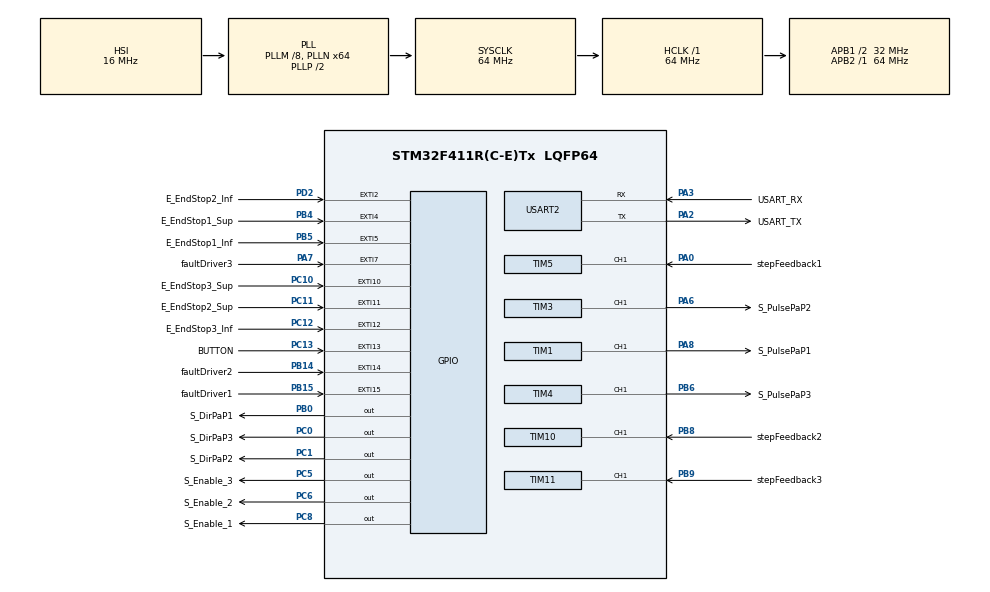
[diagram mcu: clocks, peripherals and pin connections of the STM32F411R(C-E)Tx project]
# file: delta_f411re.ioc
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Mcu.Family=STM32F4
Mcu.Name=STM32F411R(C-E)Tx
Mcu.Package=LQFP64
NVIC.EXTI15_10_IRQn=true\:1\:0\:true\:false\:true\:true\:true\:true
NVIC.EXTI2_IRQn=true\:1\:0\:true\:false\:true\:true\:true\:true
NVIC.EXTI4_IRQn=true\:1\:0\:true\:false\:true\:true\:true\:true
NVIC.EXTI9_5_IRQn=true\:1\:0\:true\:false\:true\:true\:true\:true
NVIC.PVD_IRQn=true\:0\:0\:false\:false\:true\:true\:true\:true
NVIC.PriorityGroup=NVIC_PRIORITYGROUP_2
NVIC.TIM1_BRK_TIM9_IRQn=true\:0\:0\:false\:false\:true\:true\:true\:true
NVIC.TIM1_TRG_COM_TIM11_IRQn=true\:2\:0\:true\:false\:true\:true\:true\:true
NVIC.TIM1_UP_TIM10_IRQn=true\:2\:0\:true\:false\:true\:true\:true\:true
NVIC.TIM5_IRQn=true\:2\:0\:true\:false\:true\:true\:true\:true
NVIC.USART2_IRQn=true\:1\:0\:true\:false\:true\:true\:true\:true
PA0-WKUP.GPIO_Label=stepFeedback1
PA0-WKUP.Signal=S_TIM5_CH1
PA13.GPIO_Label=TMS
PA13.Mode=Serial_Wire
PA13.Signal=SYS_JTMS-SWDIO
PA14.GPIO_Label=TCK
PA14.Mode=Serial_Wire
PA14.Signal=SYS_JTCK-SWCLK
PA2.GPIO_Label=USART_TX
PA2.Mode=Asynchronous
PA2.Signal=USART2_TX
PA3.GPIO_Label=USART_RX
PA3.Mode=Asynchronous
PA3.Signal=USART2_RX
PA6.GPIO_Label=S_PulsePaP2
PA6.Signal=S_TIM3_CH1
PA7.GPIO_Label=faultDriver3
PA7.GPIO_ModeDefaultEXTI=GPIO_MODE_IT_FALLING
PA7.GPIO_PuPd=GPIO_NOPULL
PA7.Signal=GPXTI7
PA8.GPIO_Label=S_PulsePaP1
PA8.Signal=S_TIM1_CH1
PB0.GPIO_Label=S_DirPaP1
PB0.Signal=GPIO_Output
PB14.GPIO_Label=faultDriver2
PB14.GPIO_ModeDefaultEXTI=GPIO_MODE_IT_FALLING
PB14.GPIO_PuPd=GPIO_NOPULL
PB14.Signal=GPXTI14
PB15.GPIO_Label=faultDriver1
PB15.GPIO_ModeDefaultEXTI=GPIO_MODE_IT_FALLING
PB15.GPIO_PuPd=GPIO_NOPULL
PB15.Signal=GPXTI15
PB3.GPIO_Label=SWO
PB3.Signal=SYS_JTDO-SWO
PB4.GPIO_Label=E_EndStop1_Sup
PB4.GPIO_ModeDefaultEXTI=GPIO_MODE_IT_FALLING
PB4.GPIO_PuPd=GPIO_NOPULL
PB4.Signal=GPXTI4
PB5.GPIO_Label=E_EndStop1_Inf
PB5.GPIO_ModeDefaultEXTI=GPIO_MODE_IT_FALLING
PB5.GPIO_PuPd=GPIO_NOPULL
PB5.Signal=GPXTI5
PB6.GPIO_Label=S_PulsePaP3
PB6.Signal=S_TIM4_CH1
PB8.GPIO_Label=stepFeedback2
PB8.Signal=S_TIM10_CH1
PB9.GPIO_Label=stepFeedback3
PB9.Signal=S_TIM11_CH1
PC0.GPIO_Label=S_DirPaP3
PC0.Signal=GPIO_Output
PC1.GPIO_Label=S_DirPaP2
PC1.Signal=GPIO_Output
PC10.GPIO_Label=E_EndStop3_Sup
PC10.GPIO_ModeDefaultEXTI=GPIO_MODE_IT_FALLING
PC10.GPIO_PuPd=GPIO_NOPULL
PC10.Signal=GPXTI10
PC11.GPIO_Label=E_EndStop2_Sup
PC11.GPIO_ModeDefaultEXTI=GPIO_MODE_IT_FALLING
PC11.GPIO_PuPd=GPIO_NOPULL
PC11.Signal=GPXTI11
PC12.GPIO_Label=E_EndStop3_Inf
PC12.GPIO_ModeDefaultEXTI=GPIO_MODE_IT_FALLING
PC12.GPIO_PuPd=GPIO_NOPULL
PC12.Signal=GPXTI12
PC13-ANTI_TAMP.GPIO_Label=BUTTON
PC13-ANTI_TAMP.GPIO_PuPd=GPIO_PULLDOWN
PC13-ANTI_TAMP.Signal=GPXTI13
PC14-OSC32_IN.Mode=LSE-External-Oscillator
PC14-OSC32_IN.Signal=RCC_OSC32_IN
PC15-OSC32_OUT.Mode=LSE-External-Oscillator
PC15-OSC32_OUT.Signal=RCC_OSC32_OUT
PC5.GPIO_Label=S_Enable_3
PC5.Signal=GPIO_Output
PC6.GPIO_Label=S_Enable_2
PC6.Signal=GPIO_Output
PC8.GPIO_Label=S_Enable_1
PC8.Signal=GPIO_Output
PD2.GPIO_Label=E_EndStop2_Inf
PD2.GPIO_ModeDefaultEXTI=GPIO_MODE_IT_FALLING
PD2.GPIO_PuPd=GPIO_NOPULL
PD2.Signal=GPXTI2
PH0\ -\ OSC_IN.Mode=HSE-External-Clock-Source
PH0\ -\ OSC_IN.Signal=RCC_OSC_IN
PH1\ -\ OSC_OUT.Mode=HSE-External-Clock-Source
PH1\ -\ OSC_OUT.Signal=RCC_OSC_OUT
ProjectManager.HeapSize=0x200
ProjectManager.StackSize=0x400
ProjectManager.TargetToolchain=STM32CubeIDE
RCC.48MHZClocksFreq_Value=32000000
RCC.AHBFreq_Value=64000000
RCC.APB1CLKDivider=RCC_HCLK_DIV2
RCC.APB1Freq_Value=32000000
RCC.APB1TimFreq_Value=64000000
RCC.APB2Freq_Value=64000000
RCC.APB2TimFreq_Value=64000000
RCC.CortexFreq_Value=64000000
RCC.FLatency-AdvancedSettings=FLASH_LATENCY_2
RCC.HCLKFreq_Value=64000000
RCC.HSE_VALUE=8000000
RCC.HSI_VALUE=16000000
RCC.PLLM=8
RCC.PLLN=64
RCC.RCC_RTC_Clock_Source=RCC_RTCCLKSOURCE_LSI
RCC.RCC_RTC_Clock_SourceVirtual=RCC_RTCCLKSOURCE_LSI
RCC.SYSCLKFreq_VALUE=64000000
RCC.SYSCLKSource=RCC_SYSCLKSOURCE_PLLCLK
RCC.VCOOutputFreq_Value=128000000
SH.S_TIM10_CH1.0=TIM10_CH1,Input_Capture1_from_TI1
SH.S_TIM11_CH1.0=TIM11_CH1,Input_Capture1_from_TI1
SH.S_TIM1_CH1.0=TIM1_CH1,PWM Generation1 CH1
SH.S_TIM3_CH1.0=TIM3_CH1,PWM Generation1 CH1
SH.S_TIM4_CH1.0=TIM4_CH1,PWM Generation1 CH1
SH.S_TIM5_CH1.0=TIM5_CH1,Input_Capture1_from_TI1
TIM1.Channel-PWM\ Generation1\ CH1=TIM_CHANNEL_1
TIM1.Period=0
TIM1.Prescaler=64-1
TIM10.Channel=TIM_CHANNEL_1
TIM10.ICPolarity_CH1=TIM_INPUTCHANNELPOLARITY_RISING
TIM11.Channel=TIM_CHANNEL_1
TIM11.ICPolarity_CH1=TIM_INPUTCHANNELPOLARITY_RISING
TIM2.Period=4294967295
TIM2.Prescaler=0
TIM3.Channel-PWM\ Generation1\ CH1=TIM_CHANNEL_1
TIM3.Period=0
TIM3.Prescaler=64-1
TIM4.Channel-PWM\ Generation1\ CH1=TIM_CHANNEL_1
TIM4.Period=64000
TIM4.Prescaler=64-1
TIM5.Channel-Input_Capture1_from_TI1=TIM_CHANNEL_1
TIM5.ICPolarity_CH1=TIM_INPUTCHANNELPOLARITY_RISING
TIM5.Period=65535
TIM9.Period=64000
USART2.VirtualMode=VM_ASYNC
VP_TIM10_VS_ClockSourceINT.Mode=Enable_Timer
VP_TIM11_VS_ClockSourceINT.Mode=Enable_Timer
VP_TIM1_VS_ClockSourceINT.Mode=Internal
VP_TIM2_VS_ClockSourceINT.Mode=Internal
VP_TIM3_VS_ClockSourceINT.Mode=Internal
VP_TIM4_VS_ClockSourceINT.Mode=Internal
VP_TIM5_VS_ClockSourceINT.Mode=Internal
VP_TIM9_VS_ClockSourceINT.Mode=Internal
board=NUCLEO-F411RE

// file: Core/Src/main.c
/* USER CODE BEGIN Header */
/**
  ******************************************************************************
  * @file           : main.c
  * @brief          : Main program body
  ******************************************************************************
  * @attention
  *
  * Copyright (c) 2023 STMicroelectronics.
  * All rights reserved.
  *
  * This software is licensed under terms that can be found in the LICENSE file
  * in the root directory of this software component.
  * If no LICENSE file comes with this software, it is provided AS-IS.
  *
  ******************************************************************************
  */
/* USER CODE END Header */
#include "main.h"

/* USER CODE BEGIN Includes */
#include <string.h>
#include "stdio.h"
#include "stdlib.h"
#include "math.h"
#include "motor.h"
#include "homing.h"
#include "interpretaComando.h"
#include "statesMachine.h"
#include "trajectory.h"

/* USER CODE END Includes */

 TIM_HandleTypeDef htim1;
TIM_HandleTypeDef htim2;
TIM_HandleTypeDef htim3;
TIM_HandleTypeDef htim4;
TIM_HandleTypeDef htim5;
TIM_HandleTypeDef htim9;
TIM_HandleTypeDef htim10;
TIM_HandleTypeDef htim11;

UART_HandleTypeDef huart2;

/* USER CODE BEGIN PV */
Motor motor1, motor2,motor3;

double time;
uint8_t cm0;				//Flag start transmit

/* USER CODE END PV */

void SystemClock_Config(void);
static void MX_GPIO_Init(void);
static void MX_USART2_UART_Init(void);
static void MX_TIM1_Init(void);
static void MX_TIM2_Init(void);
static void MX_TIM3_Init(void);
static void MX_TIM5_Init(void);
static void MX_TIM9_Init(void);
static void MX_TIM10_Init(void);
static void MX_TIM11_Init(void);
static void MX_TIM4_Init(void);

int main(void)
{

  /* MCU Configuration--------------------------------------------------------*/

  /* Reset of all peripherals, Initializes the Flash interface and the Systick. */
  HAL_Init();

  /* Configure the system clock */
  SystemClock_Config();

  /* Initialize all configured peripherals */
  MX_GPIO_Init();
  MX_USART2_UART_Init();
  MX_TIM1_Init();
  MX_TIM2_Init();
  MX_TIM3_Init();
  MX_TIM5_Init();
  MX_TIM9_Init();
  MX_TIM10_Init();
  MX_TIM11_Init();
  MX_TIM4_Init();

  /* Infinite loop */
  while (1)
  {

    /* USER CODE BEGIN 3 */
	  statesMachineLoop();
  }
  /* USER CODE END 3 */
}

void SystemClock_Config(void)
{
  RCC_OscInitTypeDef RCC_OscInitStruct = {0};
  RCC_ClkInitTypeDef RCC_ClkInitStruct = {0};

  /** Configure the main internal regulator output voltage
  */
  __HAL_RCC_PWR_CLK_ENABLE();
  __HAL_PWR_VOLTAGESCALING_CONFIG(PWR_REGULATOR_VOLTAGE_SCALE1);

  /** Initializes the RCC Oscillators according to the specified parameters
  * in the RCC_OscInitTypeDef structure.
  */
  RCC_OscInitStruct.OscillatorType = RCC_OSCILLATORTYPE_HSI|RCC_OSCILLATORTYPE_HSE;
  RCC_OscInitStruct.HSEState = RCC_HSE_BYPASS;
  RCC_OscInitStruct.HSIState = RCC_HSI_ON;
  RCC_OscInitStruct.HSICalibrationValue = RCC_HSICALIBRATION_DEFAULT;
  RCC_OscInitStruct.PLL.PLLState = RCC_PLL_ON;
  RCC_OscInitStruct.PLL.PLLSource = RCC_PLLSOURCE_HSI;
  RCC_OscInitStruct.PLL.PLLM = 8;
  RCC_OscInitStruct.PLL.PLLN = 64;
  RCC_OscInitStruct.PLL.PLLP = RCC_PLLP_DIV2;
  RCC_OscInitStruct.PLL.PLLQ = 4;
  if (HAL_RCC_OscConfig(&RCC_OscInitStruct) != HAL_OK)
  {
    Error_Handler();
  }

  /** Initializes the CPU, AHB and APB buses clocks
  */
  RCC_ClkInitStruct.ClockType = RCC_CLOCKTYPE_HCLK|RCC_CLOCKTYPE_SYSCLK
                              |RCC_CLOCKTYPE_PCLK1|RCC_CLOCKTYPE_PCLK2;
  RCC_ClkInitStruct.SYSCLKSource = RCC_SYSCLKSOURCE_PLLCLK;
  RCC_ClkInitStruct.AHBCLKDivider = RCC_SYSCLK_DIV1;
  RCC_ClkInitStruct.APB1CLKDivider = RCC_HCLK_DIV2;
  RCC_ClkInitStruct.APB2CLKDivider = RCC_HCLK_DIV1;

  if (HAL_RCC_ClockConfig(&RCC_ClkInitStruct, FLASH_LATENCY_2) != HAL_OK)
  {
    Error_Handler();
  }
}

static void MX_TIM1_Init(void)
{

  TIM_ClockConfigTypeDef sClockSourceConfig = {0};
  TIM_MasterConfigTypeDef sMasterConfig = {0};
  TIM_OC_InitTypeDef sConfigOC = {0};
  TIM_BreakDeadTimeConfigTypeDef sBreakDeadTimeConfig = {0};

  htim1.Instance = TIM1;
  htim1.Init.Prescaler = 64-1;
  htim1.Init.CounterMode = TIM_COUNTERMODE_UP;
  htim1.Init.Period = 0;
  htim1.Init.ClockDivision = TIM_CLOCKDIVISION_DIV1;
  htim1.Init.RepetitionCounter = 0;
  htim1.Init.AutoReloadPreload = TIM_AUTORELOAD_PRELOAD_DISABLE;
  if (HAL_TIM_Base_Init(&htim1) != HAL_OK)
  {
    Error_Handler();
  }
  sClockSourceConfig.ClockSource = TIM_CLOCKSOURCE_INTERNAL;
  if (HAL_TIM_ConfigClockSource(&htim1, &sClockSourceConfig) != HAL_OK)
  {
    Error_Handler();
  }
  if (HAL_TIM_PWM_Init(&htim1) != HAL_OK)
  {
    Error_Handler();
  }
  sMasterConfig.MasterOutputTrigger = TIM_TRGO_RESET;
  sMasterConfig.MasterSlaveMode = TIM_MASTERSLAVEMODE_DISABLE;
  if (HAL_TIMEx_MasterConfigSynchronization(&htim1, &sMasterConfig) != HAL_OK)
  {
    Error_Handler();
  }
  sConfigOC.OCMode = TIM_OCMODE_PWM1;
  sConfigOC.Pulse = 0;
  sConfigOC.OCPolarity = TIM_OCPOLARITY_HIGH;
  sConfigOC.OCNPolarity = TIM_OCNPOLARITY_HIGH;
  sConfigOC.OCFastMode = TIM_OCFAST_DISABLE;
  sConfigOC.OCIdleState = TIM_OCIDLESTATE_RESET;
  sConfigOC.OCNIdleState = TIM_OCNIDLESTATE_RESET;
  if (HAL_TIM_PWM_ConfigChannel(&htim1, &sConfigOC, TIM_CHANNEL_1) != HAL_OK)
  {
    Error_Handler();
  }
  sBreakDeadTimeConfig.OffStateRunMode = TIM_OSSR_DISABLE;
  sBreakDeadTimeConfig.OffStateIDLEMode = TIM_OSSI_DISABLE;
  sBreakDeadTimeConfig.LockLevel = TIM_LOCKLEVEL_OFF;
  sBreakDeadTimeConfig.DeadTime = 0;
  sBreakDeadTimeConfig.BreakState = TIM_BREAK_DISABLE;
  sBreakDeadTimeConfig.BreakPolarity = TIM_BREAKPOLARITY_HIGH;
  sBreakDeadTimeConfig.AutomaticOutput = TIM_AUTOMATICOUTPUT_DISABLE;
  if (HAL_TIMEx_ConfigBreakDeadTime(&htim1, &sBreakDeadTimeConfig) != HAL_OK)
  {
    Error_Handler();
  }
  HAL_TIM_MspPostInit(&htim1);

}

static void MX_TIM2_Init(void)
{

  TIM_ClockConfigTypeDef sClockSourceConfig = {0};
  TIM_MasterConfigTypeDef sMasterConfig = {0};

  htim2.Instance = TIM2;
  htim2.Init.Prescaler = 0;
  htim2.Init.CounterMode = TIM_COUNTERMODE_UP;
  htim2.Init.Period = 4294967295;
  htim2.Init.ClockDivision = TIM_CLOCKDIVISION_DIV1;
  htim2.Init.AutoReloadPreload = TIM_AUTORELOAD_PRELOAD_DISABLE;
  if (HAL_TIM_Base_Init(&htim2) != HAL_OK)
  {
    Error_Handler();
  }
  sClockSourceConfig.ClockSource = TIM_CLOCKSOURCE_INTERNAL;
  if (HAL_TIM_ConfigClockSource(&htim2, &sClockSourceConfig) != HAL_OK)
  {
    Error_Handler();
  }
  sMasterConfig.MasterOutputTrigger = TIM_TRGO_RESET;
  sMasterConfig.MasterSlaveMode = TIM_MASTERSLAVEMODE_DISABLE;
  if (HAL_TIMEx_MasterConfigSynchronization(&htim2, &sMasterConfig) != HAL_OK)
  {
    Error_Handler();
  }

}

static void MX_TIM3_Init(void)
{

  TIM_ClockConfigTypeDef sClockSourceConfig = {0};
  TIM_MasterConfigTypeDef sMasterConfig = {0};
  TIM_OC_InitTypeDef sConfigOC = {0};

  htim3.Instance = TIM3;
  htim3.Init.Prescaler = 64-1;
  htim3.Init.CounterMode = TIM_COUNTERMODE_UP;
  htim3.Init.Period = 0;
  htim3.Init.ClockDivision = TIM_CLOCKDIVISION_DIV1;
  htim3.Init.AutoReloadPreload = TIM_AUTORELOAD_PRELOAD_DISABLE;
  if (HAL_TIM_Base_Init(&htim3) != HAL_OK)
  {
    Error_Handler();
  }
  sClockSourceConfig.ClockSource = TIM_CLOCKSOURCE_INTERNAL;
  if (HAL_TIM_ConfigClockSource(&htim3, &sClockSourceConfig) != HAL_OK)
  {
    Error_Handler();
  }
  if (HAL_TIM_PWM_Init(&htim3) != HAL_OK)
  {
    Error_Handler();
  }
  sMasterConfig.MasterOutputTrigger = TIM_TRGO_RESET;
  sMasterConfig.MasterSlaveMode = TIM_MASTERSLAVEMODE_DISABLE;
  if (HAL_TIMEx_MasterConfigSynchronization(&htim3, &sMasterConfig) != HAL_OK)
  {
    Error_Handler();
  }
  sConfigOC.OCMode = TIM_OCMODE_PWM1;
  sConfigOC.Pulse = 0;
  sConfigOC.OCPolarity = TIM_OCPOLARITY_HIGH;
  sConfigOC.OCFastMode = TIM_OCFAST_DISABLE;
  if (HAL_TIM_PWM_ConfigChannel(&htim3, &sConfigOC, TIM_CHANNEL_1) != HAL_OK)
  {
    Error_Handler();
  }
  HAL_TIM_MspPostInit(&htim3);

}

static void MX_TIM4_Init(void)
{

  TIM_ClockConfigTypeDef sClockSourceConfig = {0};
  TIM_MasterConfigTypeDef sMasterConfig = {0};
  TIM_OC_InitTypeDef sConfigOC = {0};

  htim4.Instance = TIM4;
  htim4.Init.Prescaler = 64-1;
  htim4.Init.CounterMode = TIM_COUNTERMODE_UP;
  htim4.Init.Period = 64000;
  htim4.Init.ClockDivision = TIM_CLOCKDIVISION_DIV1;
  htim4.Init.AutoReloadPreload = TIM_AUTORELOAD_PRELOAD_DISABLE;
  if (HAL_TIM_Base_Init(&htim4) != HAL_OK)
  {
    Error_Handler();
  }
  sClockSourceConfig.ClockSource = TIM_CLOCKSOURCE_INTERNAL;
  if (HAL_TIM_ConfigClockSource(&htim4, &sClockSourceConfig) != HAL_OK)
  {
    Error_Handler();
  }
  if (HAL_TIM_PWM_Init(&htim4) != HAL_OK)
  {
    Error_Handler();
  }
  sMasterConfig.MasterOutputTrigger = TIM_TRGO_RESET;
  sMasterConfig.MasterSlaveMode = TIM_MASTERSLAVEMODE_DISABLE;
  if (HAL_TIMEx_MasterConfigSynchronization(&htim4, &sMasterConfig) != HAL_OK)
  {
    Error_Handler();
  }
  sConfigOC.OCMode = TIM_OCMODE_PWM1;
  sConfigOC.Pulse = 0;
  sConfigOC.OCPolarity = TIM_OCPOLARITY_HIGH;
  sConfigOC.OCFastMode = TIM_OCFAST_DISABLE;
  if (HAL_TIM_PWM_ConfigChannel(&htim4, &sConfigOC, TIM_CHANNEL_1) != HAL_OK)
  {
    Error_Handler();
  }
  HAL_TIM_MspPostInit(&htim4);

}

static void MX_TIM5_Init(void)
{

  TIM_ClockConfigTypeDef sClockSourceConfig = {0};
  TIM_MasterConfigTypeDef sMasterConfig = {0};
  TIM_IC_InitTypeDef sConfigIC = {0};

  htim5.Instance = TIM5;
  htim5.Init.Prescaler = 0;
  htim5.Init.CounterMode = TIM_COUNTERMODE_UP;
  htim5.Init.Period = 65535;
  htim5.Init.ClockDivision = TIM_CLOCKDIVISION_DIV1;
  htim5.Init.AutoReloadPreload = TIM_AUTORELOAD_PRELOAD_DISABLE;
  if (HAL_TIM_Base_Init(&htim5) != HAL_OK)
  {
    Error_Handler();
  }
  sClockSourceConfig.ClockSource = TIM_CLOCKSOURCE_INTERNAL;
  if (HAL_TIM_ConfigClockSource(&htim5, &sClockSourceConfig) != HAL_OK)
  {
    Error_Handler();
  }
  if (HAL_TIM_IC_Init(&htim5) != HAL_OK)
  {
    Error_Handler();
  }
  sMasterConfig.MasterOutputTrigger = TIM_TRGO_RESET;
  sMasterConfig.MasterSlaveMode = TIM_MASTERSLAVEMODE_DISABLE;
  if (HAL_TIMEx_MasterConfigSynchronization(&htim5, &sMasterConfig) != HAL_OK)
  {
    Error_Handler();
  }
  sConfigIC.ICPolarity = TIM_INPUTCHANNELPOLARITY_RISING;
  sConfigIC.ICSelection = TIM_ICSELECTION_DIRECTTI;
  sConfigIC.ICPrescaler = TIM_ICPSC_DIV1;
  sConfigIC.ICFilter = 0;
  if (HAL_TIM_IC_ConfigChannel(&htim5, &sConfigIC, TIM_CHANNEL_1) != HAL_OK)
  {
    Error_Handler();
  }

}

static void MX_TIM9_Init(void)
{

  TIM_ClockConfigTypeDef sClockSourceConfig = {0};

  htim9.Instance = TIM9;
  htim9.Init.Prescaler = 0;
  htim9.Init.CounterMode = TIM_COUNTERMODE_UP;
  htim9.Init.Period = 64000;
  htim9.Init.ClockDivision = TIM_CLOCKDIVISION_DIV1;
  htim9.Init.AutoReloadPreload = TIM_AUTORELOAD_PRELOAD_DISABLE;
  if (HAL_TIM_Base_Init(&htim9) != HAL_OK)
  {
    Error_Handler();
  }
  sClockSourceConfig.ClockSource = TIM_CLOCKSOURCE_INTERNAL;
  if (HAL_TIM_ConfigClockSource(&htim9, &sClockSourceConfig) != HAL_OK)
  {
    Error_Handler();
  }

}

static void MX_TIM10_Init(void)
{

  TIM_IC_InitTypeDef sConfigIC = {0};

  htim10.Instance = TIM10;
  htim10.Init.Prescaler = 0;
  htim10.Init.CounterMode = TIM_COUNTERMODE_UP;
  htim10.Init.Period = 65535;
  htim10.Init.ClockDivision = TIM_CLOCKDIVISION_DIV1;
  htim10.Init.AutoReloadPreload = TIM_AUTORELOAD_PRELOAD_DISABLE;
  if (HAL_TIM_Base_Init(&htim10) != HAL_OK)
  {
    Error_Handler();
  }
  if (HAL_TIM_IC_Init(&htim10) != HAL_OK)
  {
    Error_Handler();
  }
  sConfigIC.ICPolarity = TIM_INPUTCHANNELPOLARITY_RISING;
  sConfigIC.ICSelection = TIM_ICSELECTION_DIRECTTI;
  sConfigIC.ICPrescaler = TIM_ICPSC_DIV1;
  sConfigIC.ICFilter = 0;
  if (HAL_TIM_IC_ConfigChannel(&htim10, &sConfigIC, TIM_CHANNEL_1) != HAL_OK)
  {
    Error_Handler();
  }

}

static void MX_TIM11_Init(void)
{

  TIM_IC_InitTypeDef sConfigIC = {0};

  htim11.Instance = TIM11;
  htim11.Init.Prescaler = 0;
  htim11.Init.CounterMode = TIM_COUNTERMODE_UP;
  htim11.Init.Period = 65535;
  htim11.Init.ClockDivision = TIM_CLOCKDIVISION_DIV1;
  htim11.Init.AutoReloadPreload = TIM_AUTORELOAD_PRELOAD_DISABLE;
  if (HAL_TIM_Base_Init(&htim11) != HAL_OK)
  {
    Error_Handler();
  }
  if (HAL_TIM_IC_Init(&htim11) != HAL_OK)
  {
    Error_Handler();
  }
  sConfigIC.ICPolarity = TIM_INPUTCHANNELPOLARITY_RISING;
  sConfigIC.ICSelection = TIM_ICSELECTION_DIRECTTI;
  sConfigIC.ICPrescaler = TIM_ICPSC_DIV1;
  sConfigIC.ICFilter = 0;
  if (HAL_TIM_IC_ConfigChannel(&htim11, &sConfigIC, TIM_CHANNEL_1) != HAL_OK)
  {
    Error_Handler();
  }

}

static void MX_USART2_UART_Init(void)
{

  huart2.Instance = USART2;
  huart2.Init.BaudRate = 115200;
  huart2.Init.WordLength = UART_WORDLENGTH_8B;
  huart2.Init.StopBits = UART_STOPBITS_1;
  huart2.Init.Parity = UART_PARITY_NONE;
  huart2.Init.Mode = UART_MODE_TX_RX;
  huart2.Init.HwFlowCtl = UART_HWCONTROL_NONE;
  huart2.Init.OverSampling = UART_OVERSAMPLING_16;
  if (HAL_UART_Init(&huart2) != HAL_OK)
  {
    Error_Handler();
  }

}

static void MX_GPIO_Init(void)
{
  GPIO_InitTypeDef GPIO_InitStruct = {0};

  /* GPIO Ports Clock Enable */
  __HAL_RCC_GPIOC_CLK_ENABLE();
  __HAL_RCC_GPIOH_CLK_ENABLE();
  __HAL_RCC_GPIOA_CLK_ENABLE();
  __HAL_RCC_GPIOB_CLK_ENABLE();
  __HAL_RCC_GPIOD_CLK_ENABLE();

  /*Configure GPIO pin Output Level */
  HAL_GPIO_WritePin(GPIOC, S_DirPaP3_Pin|S_DirPaP2_Pin|S_Enable_3_Pin|S_Enable_2_Pin
                          |S_Enable_1_Pin, GPIO_PIN_RESET);

  /*Configure GPIO pin Output Level */
  HAL_GPIO_WritePin(S_DirPaP1_GPIO_Port, S_DirPaP1_Pin, GPIO_PIN_RESET);

  /*Configure GPIO pin : BUTTON_Pin */
  GPIO_InitStruct.Pin = BUTTON_Pin;
  GPIO_InitStruct.Mode = GPIO_MODE_IT_RISING;
  GPIO_InitStruct.Pull = GPIO_PULLDOWN;
  HAL_GPIO_Init(BUTTON_GPIO_Port, &GPIO_InitStruct);

  /*Configure GPIO pins : S_DirPaP3_Pin S_DirPaP2_Pin S_Enable_3_Pin S_Enable_2_Pin
                           S_Enable_1_Pin */
  GPIO_InitStruct.Pin = S_DirPaP3_Pin|S_DirPaP2_Pin|S_Enable_3_Pin|S_Enable_2_Pin
                          |S_Enable_1_Pin;
  GPIO_InitStruct.Mode = GPIO_MODE_OUTPUT_PP;
  GPIO_InitStruct.Pull = GPIO_NOPULL;
  GPIO_InitStruct.Speed = GPIO_SPEED_FREQ_LOW;
  HAL_GPIO_Init(GPIOC, &GPIO_InitStruct);

  /*Configure GPIO pin : faultDriver3_Pin */
  GPIO_InitStruct.Pin = faultDriver3_Pin;
  GPIO_InitStruct.Mode = GPIO_MODE_IT_FALLING;
  GPIO_InitStruct.Pull = GPIO_NOPULL;
  HAL_GPIO_Init(faultDriver3_GPIO_Port, &GPIO_InitStruct);

  /*Configure GPIO pin : S_DirPaP1_Pin */
  GPIO_InitStruct.Pin = S_DirPaP1_Pin;
  GPIO_InitStruct.Mode = GPIO_MODE_OUTPUT_PP;
  GPIO_InitStruct.Pull = GPIO_NOPULL;
  GPIO_InitStruct.Speed = GPIO_SPEED_FREQ_LOW;
  HAL_GPIO_Init(S_DirPaP1_GPIO_Port, &GPIO_InitStruct);

  /*Configure GPIO pins : faultDriver2_Pin faultDriver1_Pin E_EndStop1_Sup_Pin E_EndStop1_Inf_Pin */
  GPIO_InitStruct.Pin = faultDriver2_Pin|faultDriver1_Pin|E_EndStop1_Sup_Pin|E_EndStop1_Inf_Pin;
  GPIO_InitStruct.Mode = GPIO_MODE_IT_FALLING;
  GPIO_InitStruct.Pull = GPIO_NOPULL;
  HAL_GPIO_Init(GPIOB, &GPIO_InitStruct);

  /*Configure GPIO pins : E_EndStop3_Sup_Pin E_EndStop2_Sup_Pin E_EndStop3_Inf_Pin */
  GPIO_InitStruct.Pin = E_EndStop3_Sup_Pin|E_EndStop2_Sup_Pin|E_EndStop3_Inf_Pin;
  GPIO_InitStruct.Mode = GPIO_MODE_IT_FALLING;
  GPIO_InitStruct.Pull = GPIO_NOPULL;
  HAL_GPIO_Init(GPIOC, &GPIO_InitStruct);

  /*Configure GPIO pin : E_EndStop2_Inf_Pin */
  GPIO_InitStruct.Pin = E_EndStop2_Inf_Pin;
  GPIO_InitStruct.Mode = GPIO_MODE_IT_FALLING;
  GPIO_InitStruct.Pull = GPIO_NOPULL;
  HAL_GPIO_Init(E_EndStop2_Inf_GPIO_Port, &GPIO_InitStruct);

  /* EXTI interrupt init*/
  HAL_NVIC_SetPriority(EXTI2_IRQn, 1, 0);
  HAL_NVIC_EnableIRQ(EXTI2_IRQn);

  HAL_NVIC_SetPriority(EXTI4_IRQn, 1, 0);
  HAL_NVIC_EnableIRQ(EXTI4_IRQn);

  HAL_NVIC_SetPriority(EXTI9_5_IRQn, 1, 0);
  HAL_NVIC_EnableIRQ(EXTI9_5_IRQn);

  HAL_NVIC_SetPriority(EXTI15_10_IRQn, 1, 0);
  HAL_NVIC_EnableIRQ(EXTI15_10_IRQn);

}

/* USER CODE BEGIN 4 */
void HAL_GPIO_EXTI_Callback(uint16_t GPIO_Pin) {

	switch( GPIO_Pin){

		 case E_EndStop1_Inf_Pin:

			 Stop_PWM_MOTOR_1;
			 Stop_PWM_MOTOR_2;
			 Stop_PWM_MOTOR_3;

			 HAL_TIM_Base_Stop_IT(&htim9);
			 HAL_TIM_Base_Stop(&htim2);

			 HAL_TIM_IC_Stop(&htim5, TIM_CHANNEL_1);
			 HAL_TIM_IC_Stop(&htim10, TIM_CHANNEL_1);
			 HAL_TIM_IC_Stop(&htim11, TIM_CHANNEL_1);

			 lowerESalarm = true;
			 HAL_UART_Transmit(&huart2,(uint8_t*)"S5\n", 13, 100);
			 state = FAULT;
			 break;

		 case E_EndStop1_Sup_Pin:
			 Stop_PWM_MOTOR_1;
			 Stop_PWM_MOTOR_2;
			 Stop_PWM_MOTOR_3;

			 HAL_TIM_Base_Stop_IT(&htim9);
			 HAL_TIM_Base_Stop(&htim2);

			 HAL_TIM_IC_Stop(&htim5, TIM_CHANNEL_1);
			 HAL_TIM_IC_Stop(&htim10, TIM_CHANNEL_1);
			 HAL_TIM_IC_Stop(&htim11, TIM_CHANNEL_1);

			 upperESalarm = true;
			 HAL_UART_Transmit(&huart2,(uint8_t*)"S5\n", 13, 100);
			 state = FAULT;
			 break;

		 case E_EndStop2_Inf_Pin:
			 Stop_PWM_MOTOR_1;
			 Stop_PWM_MOTOR_2;
			 Stop_PWM_MOTOR_3;

			 HAL_TIM_Base_Stop_IT(&htim9);
			 HAL_TIM_Base_Stop(&htim2);

			 HAL_TIM_IC_Stop(&htim5, TIM_CHANNEL_1);
			 HAL_TIM_IC_Stop(&htim10, TIM_CHANNEL_1);
			 HAL_TIM_IC_Stop(&htim11, TIM_CHANNEL_1);

			 lowerESalarm = true;
			 HAL_UART_Transmit(&huart2,(uint8_t*)"S5\n", 13, 100);
			 state = FAULT;
			 break;

		 case E_EndStop2_Sup_Pin:
			 Stop_PWM_MOTOR_1;
			 Stop_PWM_MOTOR_2;
			 Stop_PWM_MOTOR_3;

			 HAL_TIM_Base_Stop_IT(&htim9);
			 HAL_TIM_Base_Stop(&htim2);

			 HAL_TIM_IC_Stop(&htim5, TIM_CHANNEL_1);
			 HAL_TIM_IC_Stop(&htim10, TIM_CHANNEL_1);
			 HAL_TIM_IC_Stop(&htim11, TIM_CHANNEL_1);

			 upperESalarm = true;
			 HAL_UART_Transmit(&huart2,(uint8_t*)"S5\n", 13, 100);
			 state = FAULT;
			 break;

		 case E_EndStop3_Inf_Pin:
			 Stop_PWM_MOTOR_1;
			 Stop_PWM_MOTOR_2;
			 Stop_PWM_MOTOR_3;

			 HAL_TIM_Base_Stop_IT(&htim9);
			 HAL_TIM_Base_Stop(&htim2);

			 HAL_TIM_IC_Stop(&htim5, TIM_CHANNEL_1);
			 HAL_TIM_IC_Stop(&htim10, TIM_CHANNEL_1);
			 HAL_TIM_IC_Stop(&htim11, TIM_CHANNEL_1);

			 lowerESalarm = true;
			 HAL_UART_Transmit(&huart2,(uint8_t*)"S5\n", 13, 100);
			 state = FAULT;

			 break;

		 case E_EndStop3_Sup_Pin:
			 Stop_PWM_MOTOR_1;
			 Stop_PWM_MOTOR_2;
			 Stop_PWM_MOTOR_3;

			 HAL_TIM_Base_Stop_IT(&htim9);
			 HAL_TIM_Base_Stop(&htim2);

			 HAL_TIM_IC_Stop(&htim5, TIM_CHANNEL_1);
			 HAL_TIM_IC_Stop(&htim10, TIM_CHANNEL_1);
			 HAL_TIM_IC_Stop(&htim11, TIM_CHANNEL_1);

			 upperESalarm = true;
			 HAL_UART_Transmit(&huart2,(uint8_t*)"S5\n", 13, 100);
			 state = FAULT;
			 break;

		 case BUTTON_Pin:

			 if (!upperESalarm && !lowerESalarm && !faultDrivers){
				 manualTrigger = false;
			 }else{manualTrigger = true;}

			 break;

//		 case faultDriver1_Pin:
//			 //manualTrigger = false;
//			 faultDrivers = true;
//			 state = FAULT;
//			 break;
//
//		 case faultDriver2_Pin:
//			 //manualTrigger = false;
//			 faultDrivers = true;
//			 state = FAULT;
//			 break;
//		 case faultDriver3_Pin:
//			 //manualTrigger = false;
//			 faultDrivers = true;
//			 state = FAULT;
//			 break;

		 default: break;

	}

}

void HAL_UART_RxCpltCallback(UART_HandleTypeDef *huart) {

	if (huart->Instance == USART2) {
		char dato;
		dato = rx_data;
		switch (dato) {
		case ':':
			rx_index = 0;
			cm0 = 1;
			break;
		case 8:
			if (rx_index > 0) {
				rx_index--;
			}
			break;
		case '\r':

			while (!(rx_index==30)){
				rx_buffer[rx_index]= (uint8_t) 0;
				rx_index++;
			}

			if (cm0 == 1) {
				rx_buffer[rx_index] = 0;
				interpretaComando();
				cm0 = 0;

			}
			break;
		default:
			if (rx_index < 30) {
				rx_buffer[rx_index++] = dato;
			}
			break;
		}
	}
	HAL_UART_Receive_IT(&huart2, &rx_data, 1); //Receive data (one character only)
}

void HAL_UART_TxCpltCallback(UART_HandleTypeDef *huart) {
	__NOP();
}

void HAL_TIM_IC_CaptureCallback(TIM_HandleTypeDef *htim) {

	if (htim->Instance == TIM5) {
		if (motor1.pMotor == motor1.numStep) {
			motor1.stepReached = true;
		} else {
			motor1.pMotor++;
		}
	}else if (htim->Instance == TIM10){
		if (motor2.pMotor == motor2.numStep) {
			motor2.stepReached = true;
		} else {
			motor2.pMotor++;
		}

	}else if (htim->Instance == TIM11){
		if (motor3.pMotor == motor3.numStep) {
			motor3.stepReached = true;
		} else {
			motor3.pMotor++;
		}

	}

}

void HAL_TIM_PeriodElapsedCallback(TIM_HandleTypeDef *htim) {

	if (htim == &htim9) {  //Timer that update velocity'curve. It interrups every 10 ms

		if (!timeFlag) {
			timeFlag = true;
			TIM2->CNT = 0;	//We start counting from here
		}

		time = (((double) (TIM2->CNT)) * ((double)(TIM2->PSC + 1) / FCL));
	}
}
/* USER CODE END 4 */

void Error_Handler(void)
{
  __disable_irq();
  while (1)
  {
  }
}
